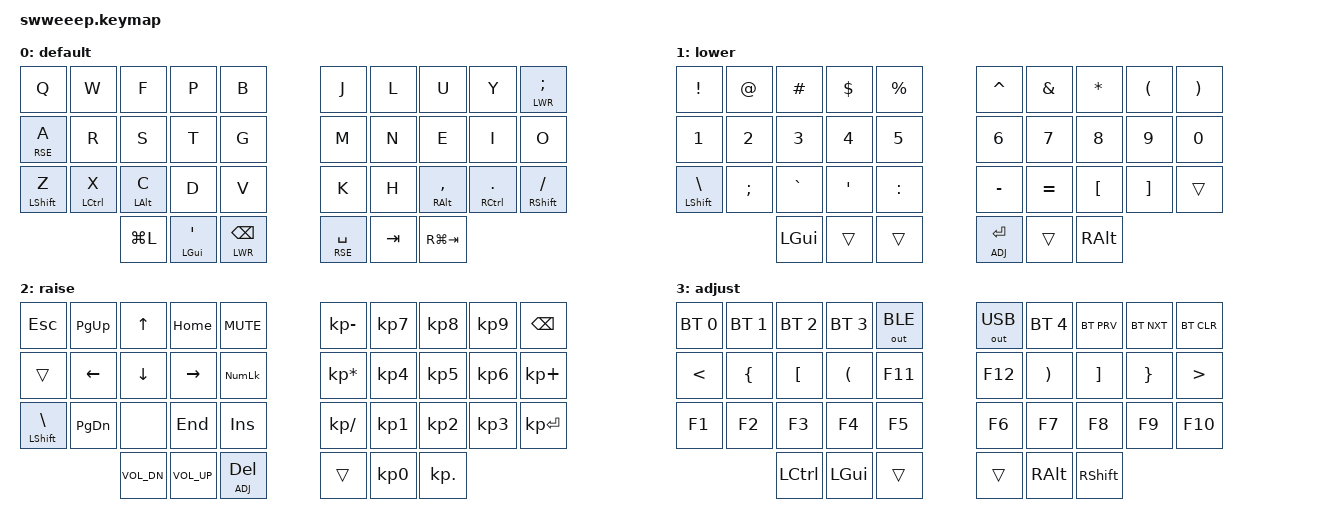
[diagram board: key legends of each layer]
#include <behaviors.dtsi>
#include <dt-bindings/zmk/keys.h>
#include <dt-bindings/zmk/bt.h>
#include <dt-bindings/zmk/outputs.h>

#define DEF 0
#define LWR 1
#define RSE 2
#define ADJ 3

/ {

    behaviors {
        hm: homerow_mods {
            compatible = "zmk,behavior-hold-tap";
            label = "HOMEROW_MODS";
            #binding-cells = <2>;
            tapping-term-ms = <200>;
            quick_tap_ms = <0>;
            flavor = "balanced";
            bindings = <&kp>, <&kp>;
        };
    };

    keymap {
        compatible = "zmk,keymap";

        default {
/* Default (Colemak-DH)
 */
            bindings = <
    &kp Q          &kp W          &kp F          &kp P          &kp B          &kp J          &kp L          &kp U          &kp Y          &lt LWR SEMI
    &lt RSE A      &kp R          &kp S          &kp T          &kp G          &kp M          &kp N          &kp E          &kp I          &kp O
    &hm LSHFT Z    &hm LCTRL X    &hm LALT C     &kp D          &kp V          &kp K          &kp H          &hm RALT COMMA &hm RCTRL DOT  &hm RSHFT FSLH
                                  &kp LG(L)      &hm LGUI SQT   &lt LWR BSPC   &lt RSE SPACE  &kp TAB        &kp RG(TAB)
            >;
        };

        lower {
/* LOWER (Numbers/Symbols)
 */
            bindings = <
    &kp EXCL       &kp AT         &kp HASH       &kp DLLR       &kp PRCNT      &kp CARET      &kp AMPS       &kp STAR       &kp LPAR       &kp RPAR
    &kp N1         &kp N2         &kp N3         &kp N4         &kp N5         &kp N6         &kp N7         &kp N8         &kp N9         &kp N0
    &hm LSHFT BSLH &kp SEMI       &kp GRAVE      &kp SQT        &kp COLON      &kp MINUS      &kp EQUAL      &kp LBKT       &kp RBKT       &trans
                                  &kp LGUI       &trans         &trans         &lt ADJ RET    &trans         &kp RALT
            >;
        };

        raise {
/* RAISE (Numpad and Navigation)
*/
            bindings = <
    &kp ESC        &kp PG_UP      &kp UP         &kp HOME       &kp C_MUTE    &kp KP_MINUS    &kp KP_N7      &kp KP_N8      &kp KP_N9      &kp BSPC
    &trans         &kp LEFT       &kp DOWN       &kp RIGHT      &kp KP_NUM    &kp KP_ASTERISK &kp KP_N4      &kp KP_N5      &kp KP_N6      &kp KP_PLUS
    &hm LSHFT BSLH &kp PG_DN      &none          &kp END        &kp INS       &kp KP_DIVIDE   &kp KP_N1      &kp KP_N2      &kp KP_N3      &kp KP_ENTER
                                  &kp C_VOL_DN   &kp C_VOL_UP   &lt ADJ DEL   &trans          &kp KP_N0      &kp KP_DOT
            >;
        };
 
        adjust {
/* ADJUST (Functions and BT)
 */
            bindings = <
    &bt BT_SEL 0   &bt BT_SEL 1   &bt BT_SEL 2   &bt BT_SEL 3   &out OUT_BLE   &out OUT_USB   &bt BT_SEL 4   &bt BT_PRV     &bt BT_NXT     &bt BT_CLR
    &kp LT         &kp LBRC       &kp LBKT       &kp LPAR       &kp F11        &kp F12        &kp RPAR       &kp RBKT       &kp RBRC       &kp GT
    &kp F1         &kp F2         &kp F3         &kp F4         &kp F5         &kp F6         &kp F7         &kp F8         &kp F9         &kp F10
                                  &kp LCTRL      &kp LGUI       &trans         &trans         &kp RALT       &kp RSHFT
            >;
        };
    };
};
